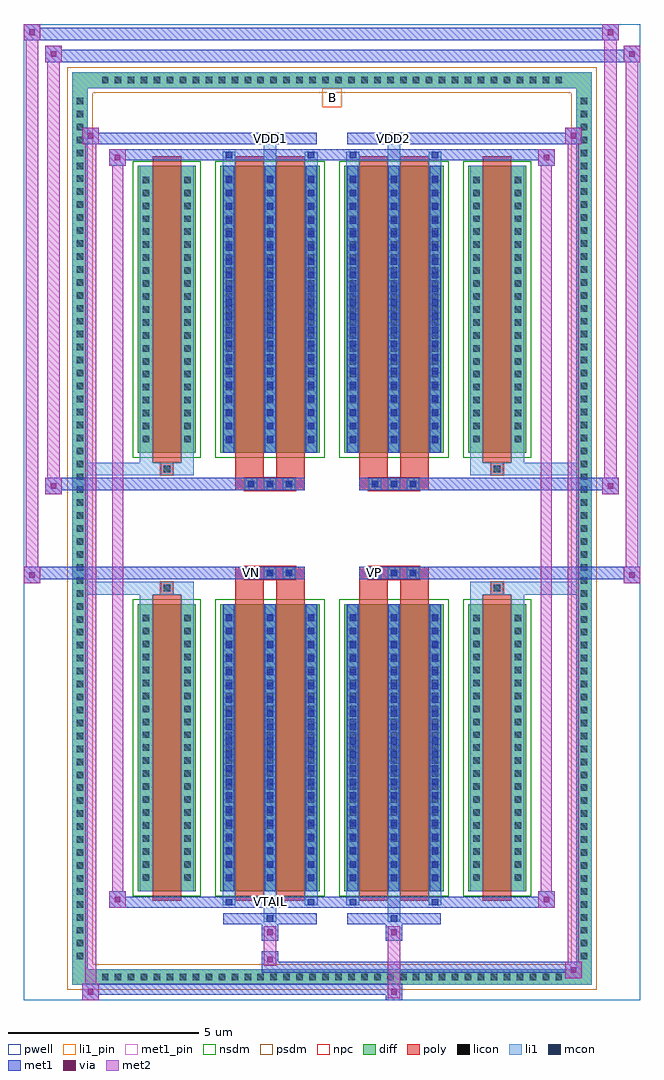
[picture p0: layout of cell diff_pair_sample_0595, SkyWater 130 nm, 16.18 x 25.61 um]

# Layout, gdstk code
import gdstk
lib = gdstk.Library(unit=1e-6, precision=5e-09)
def R(c, l, rs):  # rectangles x0, y0, x1, y1
    for r in rs: c.add(gdstk.rectangle(r[:2], r[2:], *l))
def A(c, l, x, y, w, h, nx, ny, dx, dy):  # array of equal rectangles
    R(c, l, [(x+i*dx, y+j*dy, x+i*dx+w, y+j*dy+h) for i in range(nx) for j in range(ny)])
def P(c, l, *ps):  # polygons
    for p in ps: c.add(gdstk.Polygon(p, *l))
pwell = (64, 44)
diff = (65, 20)
poly = (66, 20)
licon = (66, 44)
li1_pin = (67, 16)
li1 = (67, 20)
mcon = (67, 44)
met1_pin = (68, 16)
met1 = (68, 20)
via = (68, 44)
met2 = (69, 20)
nsdm = (93, 44)
psdm = (94, 20)
npc = (95, 20)

diff_pair_sample_0595 = lib.new_cell('diff_pair_sample_0595')
R(diff_pair_sample_0595, pwell, [(-8.09,-12.37,8.09,13.24), (-5.41,-10.56,-0.01,-0.8), (0.01,-10.56,5.41,-0.8), (-5.41,0.8,-0.01,10.56), (0.01,0.8,5.41,10.56)])
A(diff_pair_sample_0595, diff, -6.155, -11.97, 0.41, 0.41, 36, 2, 0.34, 23.53)
A(diff_pair_sample_0595, diff, -6.82, -11.425, 0.41, 0.41, 1, 67, 0, 0.34)
A(diff_pair_sample_0595, diff, 6.41, -11.425, 0.41, 0.41, 1, 67, 0, 0.34)
R(diff_pair_sample_0595, diff, [(-6.155,-11.97,6.155,-11.56), (-6.82,-11.425,-6.41,11.425), (6.41,-11.425,6.82,11.425), (-5.1,-9.515,-3.57,-1.985), (-2.93,-9.515,-0.32,-1.985), (0.32,-9.515,2.93,-1.985), (3.57,-9.515,5.1,-1.985), (-5.1,1.985,-3.57,9.515), (-2.93,1.985,-0.32,9.515), (0.32,1.985,2.93,9.515), (3.57,1.985,5.1,9.515), (-6.155,11.56,6.155,11.97)])
P(diff_pair_sample_0595, diff, [(6.82,11.97),(-6.82,11.97),(-6.82,-11.56),(-6.41,-11.56),(-6.41,11.56),(6.41,11.56),(6.41,-11.56),(-6.41,-11.56),(-6.82,-11.56),(-6.82,-11.97),(6.82,-11.97)])
A(diff_pair_sample_0595, poly, -2.29, -1.33, 0.33, 0.33, 3, 2, 0.5, 2.33)
A(diff_pair_sample_0595, poly, 0.96, -1.33, 0.33, 0.33, 3, 2, 0.5, 2.33)
R(diff_pair_sample_0595, poly, [(-4.71,-9.77,-3.96,-1.73), (-2.54,-9.77,-1.79,-1.73), (-1.46,-9.77,-0.71,-1.73), (0.71,-9.77,1.46,-1.73), (1.79,-9.77,2.54,-1.73), (3.96,-9.77,4.71,-1.73), (-4.5,-1.73,-4.17,-1.4), (-4.5,-1.73,-4.17,-1.4), (-2.54,-1.73,-1.79,-1.33), (-1.46,-1.73,-0.71,-1.33), (0.71,-1.73,1.46,-1.33), (1.79,-1.73,2.54,-1.33), (4.17,-1.73,4.5,-1.4), (4.17,-1.73,4.5,-1.4), (-2.54,-1.33,-0.71,-1), (0.71,-1.33,2.54,-1), (-2.54,1,-0.71,1.33), (0.71,1,2.54,1.33), (-2.54,1.33,-1.79,1.73), (-1.46,1.33,-0.71,1.73), (0.71,1.33,1.46,1.73), (1.79,1.33,2.54,1.73), (-4.5,1.4,-4.17,1.73), (-4.5,1.4,-4.17,1.73), (4.17,1.4,4.5,1.73), (4.17,1.4,4.5,1.73), (-4.71,1.73,-3.96,9.77), (-2.54,1.73,-1.79,9.77), (-1.46,1.73,-0.71,9.77), (0.71,1.73,1.46,9.77), (1.79,1.73,2.54,9.77), (3.96,1.73,4.71,9.77)])
A(diff_pair_sample_0595, licon, -6.035, -11.85, 0.17, 0.17, 36, 2, 0.34, 23.53)
A(diff_pair_sample_0595, licon, -6.7, -11.305, 0.17, 0.17, 1, 67, 0, 0.34)
A(diff_pair_sample_0595, licon, 6.53, -11.305, 0.17, 0.17, 1, 67, 0, 0.34)
A(diff_pair_sample_0595, licon, -4.96, -9.235, 0.17, 0.17, 1, 21, 0, 0.34)
A(diff_pair_sample_0595, licon, -3.88, -9.235, 0.17, 0.17, 1, 21, 0, 0.34)
A(diff_pair_sample_0595, licon, -2.79, -9.235, 0.17, 0.17, 3, 21, 1.08, 0.34)
A(diff_pair_sample_0595, licon, 0.46, -9.235, 0.17, 0.17, 3, 21, 1.08, 0.34)
A(diff_pair_sample_0595, licon, 3.71, -9.235, 0.17, 0.17, 1, 21, 0, 0.34)
A(diff_pair_sample_0595, licon, 4.79, -9.235, 0.17, 0.17, 1, 21, 0, 0.34)
A(diff_pair_sample_0595, licon, -2.21, -1.25, 0.17, 0.17, 3, 2, 0.5, 2.33)
A(diff_pair_sample_0595, licon, 1.04, -1.25, 0.17, 0.17, 3, 2, 0.5, 2.33)
A(diff_pair_sample_0595, licon, -4.96, 2.265, 0.17, 0.17, 1, 21, 0, 0.34)
A(diff_pair_sample_0595, licon, -3.88, 2.265, 0.17, 0.17, 1, 21, 0, 0.34)
A(diff_pair_sample_0595, licon, -2.79, 2.265, 0.17, 0.17, 3, 21, 1.08, 0.34)
A(diff_pair_sample_0595, licon, 0.46, 2.265, 0.17, 0.17, 3, 21, 1.08, 0.34)
A(diff_pair_sample_0595, licon, 3.71, 2.265, 0.17, 0.17, 1, 21, 0, 0.34)
A(diff_pair_sample_0595, licon, 4.79, 2.265, 0.17, 0.17, 1, 21, 0, 0.34)
R(diff_pair_sample_0595, licon, [(-4.42,-1.65,-4.25,-1.48), (4.25,-1.65,4.42,-1.48), (-4.42,1.48,-4.25,1.65), (4.25,1.48,4.42,1.65)])
R(diff_pair_sample_0595, li1_pin, [(-0.25,11.06,0.25,11.56)])
A(diff_pair_sample_0595, li1, -6.115, -11.93, 0.33, 0.33, 36, 2, 0.34, 23.53)
A(diff_pair_sample_0595, li1, -6.78, -11.385, 0.33, 0.33, 1, 67, 0, 0.34)
A(diff_pair_sample_0595, li1, 6.45, -11.385, 0.33, 0.33, 1, 67, 0, 0.34)
A(diff_pair_sample_0595, li1, -2.87, -9.515, 0.33, 7.53, 3, 2, 1.08, 11.5)
A(diff_pair_sample_0595, li1, 0.38, -9.515, 0.33, 7.53, 3, 2, 1.08, 11.5)
A(diff_pair_sample_0595, li1, -5.04, -9.315, 0.33, 0.33, 1, 21, 0, 0.34)
A(diff_pair_sample_0595, li1, -3.96, -9.315, 0.33, 0.33, 1, 21, 0, 0.34)
A(diff_pair_sample_0595, li1, -2.87, -9.315, 0.33, 0.33, 3, 21, 1.08, 0.34)
A(diff_pair_sample_0595, li1, 0.38, -9.315, 0.33, 0.33, 3, 21, 1.08, 0.34)
A(diff_pair_sample_0595, li1, 3.63, -9.315, 0.33, 0.33, 1, 21, 0, 0.34)
A(diff_pair_sample_0595, li1, 4.71, -9.315, 0.33, 0.33, 1, 21, 0, 0.34)
A(diff_pair_sample_0595, li1, -2.79, -9.255, 0.17, 0.17, 3, 20, 1.08, 0.36)
A(diff_pair_sample_0595, li1, -2.79, -9.255, 0.17, 7.01, 3, 2, 1.08, 11.5)
A(diff_pair_sample_0595, li1, 0.46, -9.255, 0.17, 0.17, 3, 20, 1.08, 0.36)
A(diff_pair_sample_0595, li1, 0.46, -9.255, 0.17, 7.01, 3, 2, 1.08, 11.5)
A(diff_pair_sample_0595, li1, -2.29, -1.33, 0.33, 0.33, 3, 2, 0.5, 2.33)
A(diff_pair_sample_0595, li1, 0.96, -1.33, 0.33, 0.33, 3, 2, 0.5, 2.33)
A(diff_pair_sample_0595, li1, -5.04, 2.185, 0.33, 0.33, 1, 21, 0, 0.34)
A(diff_pair_sample_0595, li1, -3.96, 2.185, 0.33, 0.33, 1, 21, 0, 0.34)
A(diff_pair_sample_0595, li1, -2.87, 2.185, 0.33, 0.33, 3, 21, 1.08, 0.34)
A(diff_pair_sample_0595, li1, 0.38, 2.185, 0.33, 0.33, 3, 21, 1.08, 0.34)
A(diff_pair_sample_0595, li1, 3.63, 2.185, 0.33, 0.33, 1, 21, 0, 0.34)
A(diff_pair_sample_0595, li1, 4.71, 2.185, 0.33, 0.33, 1, 21, 0, 0.34)
A(diff_pair_sample_0595, li1, -2.79, 2.245, 0.17, 0.17, 3, 20, 1.08, 0.36)
A(diff_pair_sample_0595, li1, 0.46, 2.245, 0.17, 0.17, 3, 20, 1.08, 0.36)
R(diff_pair_sample_0595, li1, [(-6.82,-11.97,-6.41,-11.56), (-6.82,-11.97,-6.41,-11.56), (-6.41,-11.97,6.41,-11.56), (6.41,-11.97,6.82,-11.56), (6.41,-11.97,6.82,-11.56), (-6.82,-11.56,-6.41,11.56), (6.41,-11.56,6.82,11.56), (-1.79,-10.32,-1.46,-9.515), (-1.71,-10.32,-1.54,-10.15), (1.46,-10.32,1.79,-9.515), (1.54,-10.32,1.71,-10.15), (-2.87,-9.89,-2.54,-9.515), (-2.79,-9.89,-2.62,-9.72), (-0.71,-9.89,-0.38,-9.515), (-0.63,-9.89,-0.46,-9.72), (0.38,-9.89,0.71,-9.515), (0.46,-9.89,0.63,-9.72), (2.54,-9.89,2.87,-9.515), (2.62,-9.89,2.79,-9.72), (-5.04,-9.515,-4.71,-1.985), (-3.96,-9.515,-3.63,-1.985), (3.63,-9.515,3.96,-1.985), (4.71,-9.515,5.04,-1.985), (-5.04,-1.985,-4.71,-1.4), (-3.96,-1.985,-3.63,-1.4), (3.63,-1.985,3.96,-1.4), (4.71,-1.985,5.04,-1.4), (-6.82,-1.73,-4.5,-1.4), (-5.04,-1.73,-4.5,-1.4), (-4.5,-1.73,-4.17,-1.4), (-4.17,-1.73,-3.63,-1.4), (3.63,-1.73,4.17,-1.4), (4.17,-1.73,4.5,-1.4), (4.17,-1.73,6.82,-1.4), (4.5,-1.73,5.04,-1.4), (-6.82,1.4,-4.5,1.73), (-5.04,1.4,-4.5,1.73), (-5.04,1.4,-4.71,1.985), (-4.5,1.4,-4.17,1.73), (-4.17,1.4,-3.63,1.73), (-3.96,1.4,-3.63,1.985), (3.63,1.4,4.17,1.73), (3.63,1.4,3.96,1.985), (4.17,1.4,4.5,1.73), (4.17,1.4,6.82,1.73), (4.5,1.4,5.04,1.73), (4.71,1.4,5.04,1.985), (-5.04,1.985,-4.71,9.515), (-3.96,1.985,-3.63,9.515), (3.63,1.985,3.96,9.515), (4.71,1.985,5.04,9.515), (-2.87,9.515,-2.54,9.89), (-1.79,9.515,-1.46,10.32), (-0.71,9.515,-0.38,9.89), (0.38,9.515,0.71,9.89), (1.46,9.515,1.79,10.32), (2.54,9.515,2.87,9.89), (-2.79,9.72,-2.62,9.89), (-0.63,9.72,-0.46,9.89), (0.46,9.72,0.63,9.89), (2.62,9.72,2.79,9.89), (-1.71,10.15,-1.54,10.32), (1.54,10.15,1.71,10.32), (-6.82,11.56,-6.41,11.97), (-6.82,11.56,-6.41,11.97), (-6.41,11.56,6.41,11.97), (6.41,11.56,6.82,11.97), (6.41,11.56,6.82,11.97)])
A(diff_pair_sample_0595, mcon, -2.79, -9.255, 0.17, 0.17, 3, 20, 1.08, 0.36)
A(diff_pair_sample_0595, mcon, 0.46, -9.255, 0.17, 0.17, 3, 20, 1.08, 0.36)
A(diff_pair_sample_0595, mcon, -2.21, -1.25, 0.17, 0.17, 3, 2, 0.5, 2.33)
A(diff_pair_sample_0595, mcon, 1.04, -1.25, 0.17, 0.17, 3, 2, 0.5, 2.33)
A(diff_pair_sample_0595, mcon, -2.79, 2.245, 0.17, 0.17, 3, 20, 1.08, 0.36)
A(diff_pair_sample_0595, mcon, 0.46, 2.245, 0.17, 0.17, 3, 20, 1.08, 0.36)
R(diff_pair_sample_0595, mcon, [(-1.71,-10.32,-1.54,-10.15), (1.54,-10.32,1.71,-10.15), (-2.79,-9.89,-2.62,-9.72), (-0.63,-9.89,-0.46,-9.72), (0.46,-9.89,0.63,-9.72), (2.62,-9.89,2.79,-9.72), (-2.79,9.72,-2.62,9.89), (-0.63,9.72,-0.46,9.89), (0.46,9.72,0.63,9.89), (2.62,9.72,2.79,9.89), (-1.71,10.15,-1.54,10.32), (1.54,10.15,1.71,10.32)])
R(diff_pair_sample_0595, met1_pin, [(-1.76,-9.93,-1.49,-9.66), (-2.26,-1.29,-1.99,-1.02), (0.99,-1.29,1.26,-1.02), (-1.76,10.11,-1.49,10.38), (1.49,10.11,1.76,10.38)])
A(diff_pair_sample_0595, met1, -2.85, -9.515, 0.29, 7.53, 3, 2, 1.08, 11.5)
A(diff_pair_sample_0595, met1, 0.4, -9.515, 0.29, 7.53, 3, 2, 1.08, 11.5)
A(diff_pair_sample_0595, met1, -2.85, -9.315, 0.29, 0.29, 3, 20, 1.08, 0.36)
A(diff_pair_sample_0595, met1, 0.4, -9.315, 0.29, 0.29, 3, 20, 1.08, 0.36)
A(diff_pair_sample_0595, met1, -2.27, -1.31, 0.29, 0.29, 3, 2, 0.5, 2.33)
A(diff_pair_sample_0595, met1, 0.98, -1.31, 0.29, 0.29, 3, 2, 0.5, 2.33)
A(diff_pair_sample_0595, met1, -2.85, 2.185, 0.29, 0.29, 3, 20, 1.08, 0.36)
A(diff_pair_sample_0595, met1, 0.4, 2.185, 0.29, 0.29, 3, 20, 1.08, 0.36)
R(diff_pair_sample_0595, met1, [(-6.55,-12.37,-6.12,-11.94), (1.41,-12.37,1.84,-11.94), (-6.55,-12.23,1.84,-11.94), (6.12,-11.8,6.55,-11.37), (-1.84,-11.66,6.55,-11.37), (-1.84,-11.52,-1.41,-11.09), (-1.84,-10.81,-1.41,-10.38), (1.41,-10.81,1.84,-10.38), (-2.85,-10.38,-0.4,-10.09), (-1.77,-10.38,-1.48,-10.09), (0.4,-10.38,2.85,-10.09), (1.48,-10.38,1.77,-10.09), (-5.84,-9.95,-5.41,-9.52), (-5.84,-9.95,-2.85,-9.66), (-2.85,-9.95,-2.56,-9.66), (-2.85,-9.95,-0.4,-9.66), (-0.69,-9.95,-0.4,-9.66), (-0.4,-9.95,0.4,-9.66), (0.4,-9.95,0.69,-9.66), (0.4,-9.95,2.85,-9.66), (2.56,-9.95,2.85,-9.66), (2.85,-9.95,5.84,-9.66), (5.41,-9.95,5.84,-9.52), (-8.09,-1.43,-7.66,-1), (7.66,-1.43,8.09,-1), (-8.09,-1.33,-0.71,-1), (-2.54,-1.33,-0.71,-1), (0.71,-1.33,2.54,-1), (0.71,-1.33,8.09,-1), (-7.52,0.9,-7.09,1.33), (7.09,0.9,7.52,1.33), (-7.52,1,-2.54,1.33), (-2.54,1,-0.71,1.33), (0.71,1,2.54,1.33), (2.54,1,7.52,1.33), (-5.84,9.52,-5.41,9.95), (5.41,9.52,5.84,9.95), (-5.84,9.66,-2.85,9.95), (-2.85,9.66,-2.56,9.95), (-2.85,9.66,-0.4,9.95), (-0.69,9.66,-0.4,9.95), (-0.4,9.66,0.4,9.95), (0.4,9.66,0.69,9.95), (0.4,9.66,2.85,9.95), (2.56,9.66,2.85,9.95), (2.85,9.66,5.84,9.95), (-6.55,10.09,-6.12,10.52), (-6.55,10.09,-2.85,10.38), (-2.85,10.09,-0.4,10.38), (-1.77,10.09,-1.48,10.38), (0.4,10.09,2.85,10.38), (1.48,10.09,1.77,10.38), (2.85,10.09,6.55,10.38), (6.12,10.09,6.55,10.52), (-7.52,12.24,-7.09,12.67), (-7.52,12.24,-5.41,12.57), (-5.41,12.24,5.41,12.57), (5.41,12.24,8.09,12.57), (7.66,12.24,8.09,12.67), (-8.09,12.81,-7.66,13.24), (-8.09,12.81,-5.41,13.14), (-5.41,12.81,5.41,13.14), (5.41,12.81,7.52,13.14), (7.09,12.81,7.52,13.24)])
R(diff_pair_sample_0595, via, [(-6.41,-12.23,-6.26,-12.08), (1.55,-12.23,1.7,-12.08), (6.26,-11.66,6.41,-11.51), (-1.7,-11.38,-1.55,-11.23), (-1.7,-10.67,-1.55,-10.52), (1.55,-10.67,1.7,-10.52), (-5.7,-9.81,-5.55,-9.66), (5.55,-9.81,5.7,-9.66), (-7.95,-1.29,-7.8,-1.14), (7.8,-1.29,7.95,-1.14), (-7.38,1.04,-7.23,1.19), (7.23,1.04,7.38,1.19), (-5.7,9.66,-5.55,9.81), (5.55,9.66,5.7,9.81), (-6.41,10.23,-6.26,10.38), (6.26,10.23,6.41,10.38), (-7.38,12.38,-7.23,12.53), (7.8,12.38,7.95,12.53), (-7.95,12.95,-7.8,13.1), (7.23,12.95,7.38,13.1)])
R(diff_pair_sample_0595, met2, [(-6.55,-12.37,-6.12,-11.94), (-6.48,-12.37,-6.19,10.52), (-6.19,-12.37,-6.12,-11.94), (-6.5,-12.32,-6.17,-11.99), (1.46,-12.32,1.79,-11.99), (1.46,-11.99,1.79,-10.76), (6.12,-11.8,6.55,-11.37), (6.19,-11.8,6.48,10.52), (6.48,-11.8,6.55,-11.37), (6.17,-11.75,6.5,-11.42), (-1.79,-11.47,-1.46,-11.14), (-1.79,-11.14,-1.46,-10.76), (-1.79,-10.76,-1.46,-10.43), (1.46,-10.76,1.79,-10.43), (-5.84,-9.95,-5.41,-9.52), (-5.77,-9.95,-5.48,9.95), (-5.48,-9.95,-5.41,-9.52), (5.41,-9.95,5.84,-9.52), (5.48,-9.95,5.77,9.95), (5.77,-9.95,5.84,-9.52), (-5.79,-9.9,-5.46,-9.57), (5.46,-9.9,5.79,-9.57), (-8.09,-1.43,-7.66,-1), (-8.04,-1.43,-7.71,13.24), (-7.71,-1.43,-7.66,-1), (7.66,-1.43,8.09,-1), (7.71,-1.43,8.04,12.67), (8.04,-1.43,8.09,-1), (-8.04,-1.38,-7.71,-1.05), (7.71,-1.38,8.04,-1.05), (-7.52,0.9,-7.09,1.33), (-7.47,0.9,-7.14,12.67), (-7.14,0.9,-7.09,1.33), (7.09,0.9,7.52,1.33), (7.14,0.9,7.47,13.24), (7.47,0.9,7.52,1.33), (-7.47,0.95,-7.14,1.28), (7.14,0.95,7.47,1.28), (-5.84,9.52,-5.41,9.95), (-5.48,9.52,-5.41,9.95), (5.41,9.52,5.84,9.95), (5.77,9.52,5.84,9.95), (-5.79,9.57,-5.46,9.9), (5.46,9.57,5.79,9.9), (-6.55,10.09,-6.12,10.52), (-6.19,10.09,-6.12,10.52), (6.12,10.09,6.55,10.52), (6.48,10.09,6.55,10.52), (-6.5,10.14,-6.17,10.47), (6.17,10.14,6.5,10.47), (-7.52,12.24,-7.09,12.67), (-7.14,12.24,-7.09,12.67), (7.66,12.24,8.09,12.67), (8.04,12.24,8.09,12.67), (-7.47,12.29,-7.14,12.62), (7.71,12.29,8.04,12.62), (-8.09,12.81,-7.66,13.24), (-7.71,12.81,-7.66,13.24), (7.09,12.81,7.52,13.24), (7.47,12.81,7.52,13.24), (-8.04,12.86,-7.71,13.19), (7.14,12.86,7.47,13.19)])
R(diff_pair_sample_0595, nsdm, [(-5.23,-9.645,-3.44,-1.855), (-3.06,-9.645,-0.19,-1.855), (0.19,-9.645,3.06,-1.855), (3.44,-9.645,5.23,-1.855), (-5.23,1.855,-3.44,9.645), (-3.06,1.855,-0.19,9.645), (0.19,1.855,3.06,9.645), (3.44,1.855,5.23,9.645)])
P(diff_pair_sample_0595, psdm, [(6.95,12.1),(-6.95,12.1),(-6.95,-11.43),(-6.28,-11.43),(-6.28,11.43),(6.28,11.43),(6.28,-11.43),(-6.28,-11.43),(-6.95,-11.43),(-6.95,-12.1),(6.95,-12.1)])
A(diff_pair_sample_0595, npc, -2.31, -1.35, 0.37, 0.37, 3, 2, 0.5, 2.33)
A(diff_pair_sample_0595, npc, 0.94, -1.35, 0.37, 0.37, 3, 2, 0.5, 2.33)
R(diff_pair_sample_0595, npc, [(-4.52,-1.75,-4.15,-1.38), (4.15,-1.75,4.52,-1.38), (-2.31,-1.35,-1.44,-0.98), (-2.31,-1.35,-1.44,-0.98), (-1.81,-1.35,-0.94,-0.98), (-1.81,-1.35,-0.94,-0.98), (0.94,-1.35,1.81,-0.98), (0.94,-1.35,1.81,-0.98), (1.44,-1.35,2.31,-0.98), (1.44,-1.35,2.31,-0.98), (-2.31,0.98,-1.44,1.35), (-2.31,0.98,-1.44,1.35), (-1.81,0.98,-0.94,1.35), (-1.81,0.98,-0.94,1.35), (0.94,0.98,1.81,1.35), (0.94,0.98,1.81,1.35), (1.44,0.98,2.31,1.35), (1.44,0.98,2.31,1.35), (-4.52,1.38,-4.15,1.75), (4.15,1.38,4.52,1.75)])
diff_pair_sample_0595.add(gdstk.Label('VTAIL', (-1.625,-9.795), layer=68, texttype=5))
diff_pair_sample_0595.add(gdstk.Label('VN', (-2.125,-1.155), layer=68, texttype=5))
diff_pair_sample_0595.add(gdstk.Label('VP', (1.125,-1.155), layer=68, texttype=5))
diff_pair_sample_0595.add(gdstk.Label('B', (0,11.31), layer=67, texttype=5))
diff_pair_sample_0595.add(gdstk.Label('VDD2', (1.625,10.245), layer=68, texttype=5))
diff_pair_sample_0595.add(gdstk.Label('VDD1', (-1.625,10.245), layer=68, texttype=5))

lib.write_gds('diff_pair_sample_0595.gds')
